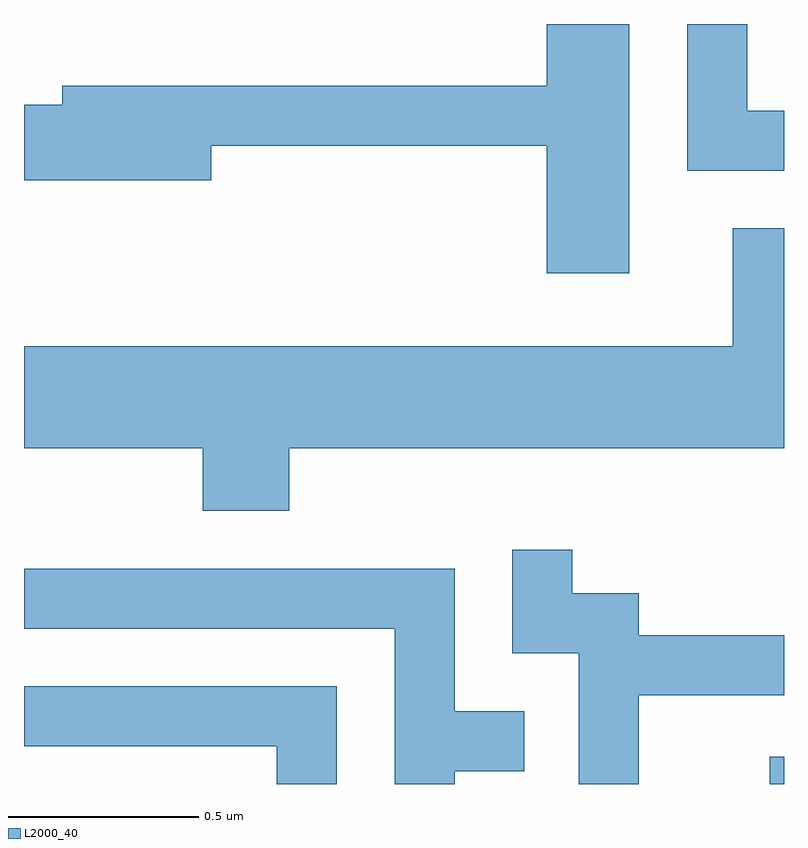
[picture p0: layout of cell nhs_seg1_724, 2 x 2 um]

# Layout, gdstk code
import gdstk
lib = gdstk.Library(unit=1e-6, precision=1e-09)
def R(c, l, rs):  # rectangles x0, y0, x1, y1
    for r in rs: c.add(gdstk.rectangle(r[:2], r[2:], *l))
def P(c, l, *ps):  # polygons
    for p in ps: c.add(gdstk.Polygon(p, *l))
L2000_40 = (2000, 40)

nhs_seg1_724 = lib.new_cell('nhs_seg1_724')
R(nhs_seg1_724, L2000_40, [(192.573,878.712,192.611,878.784)])
P(nhs_seg1_724, L2000_40, [(192.611,880.484),(192.514,880.484),(192.514,880.712),(192.356,880.712),(192.356,880.326),(192.611,880.326)],
  [(192.204,880.712),(191.986,880.712),(191.986,880.549),(190.711,880.549),(190.711,880.499),(190.611,880.499),(190.611,880.301),(191.104,880.301),(191.104,880.391),(191.986,880.391),(191.986,880.056),(192.204,880.056)],
  [(191.309,879.596),(192.611,879.596),(192.611,880.174),(192.476,880.174),(192.476,879.864),(190.611,879.864),(190.611,879.596),(191.081,879.596),(191.081,879.431),(191.309,879.431)],
  [(192.229,878.946),(192.611,878.946),(192.611,879.104),(192.229,879.104),(192.229,879.214),(192.054,879.214),(192.054,879.328),(191.896,879.328),(191.896,879.056),(192.071,879.056),(192.071,878.712),(192.229,878.712)],
  [(191.744,878.746),(191.928,878.746),(191.928,878.904),(191.744,878.904),(191.744,879.279),(190.611,879.279),(190.611,879.121),(191.586,879.121),(191.586,878.712),(191.744,878.712)],
  [(191.434,878.969),(190.611,878.969),(190.611,878.811),(191.276,878.811),(191.276,878.712),(191.434,878.712)])

lib.write_gds('nhs_seg1_724.gds')
